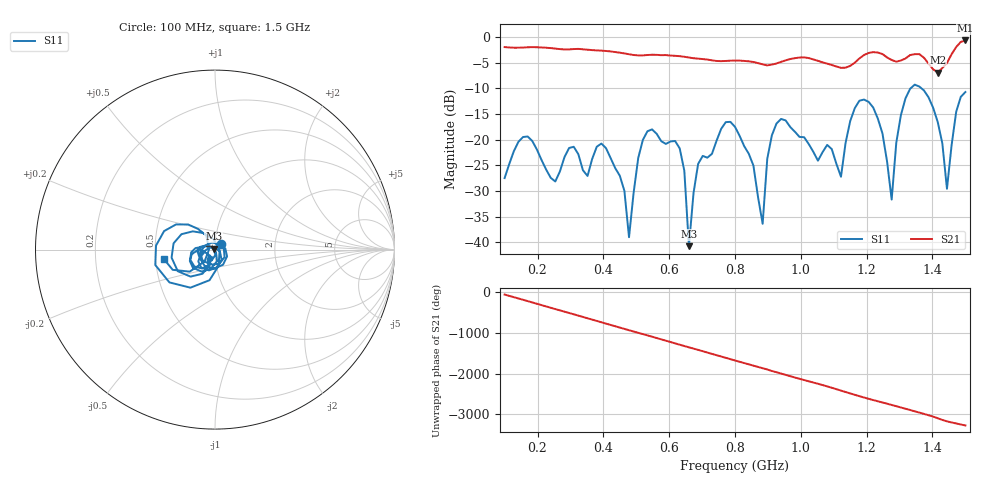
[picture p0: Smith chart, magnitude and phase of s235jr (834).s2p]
! NanoVNA-App
! Date: 2025-09-25 15:10:39
! Start: 100MHz Stop: 1,5GHz Points: 101
! S-Parameter data: F S11 S21 S12 S22
# Hz S RI R 50
!  Frequency  S11_Real  S11_Imag  S21_Real  S21_Imag  S12_Real  S12_Imag  S22_Real  S22_Imag
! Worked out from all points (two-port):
!   101 points, 100 MHz to 1.5 GHz, reference 50 ohm
!   highest |S21| = -0.68 dB at 1.5 GHz (marker M1); lowest = -6.9 dB at 1.416 GHz (marker M2)
!   |S21| within 3 dB of the highest: start of sweep to 620 MHz; 1.189 GHz to 1.256 GHz (66.97 MHz wide, 5.48 % of centre) (the widest 2 of 4)
!   lowest |S11| = -40.7 dB at 660 MHz (marker M3), VSWR 1.02, Z = 49.3 + j0.547 ohm
!   |S11| at or under -10 dB: start of sweep to 1.334 GHz; 1.367 GHz to end of sweep
!   S12 and S22 are empty: the file has one direction only
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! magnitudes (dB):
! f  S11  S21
! 100 MHz  -27.5  -2.0
! 170 MHz  -19.4  -2.0
! 338 MHz  -26.0  -2.4
! 408 MHz  -21.6  -2.7
! 478 MHz  -39.0  -3.4
! 520 MHz  -20.0  -3.6
! 576 MHz  -20.3  -3.5
! 632 MHz  -21.7  -3.7
! 660 MHz  -40.7  -4.0
! 688 MHz  -24.7  -4.2
! 800 MHz  -17.5  -4.6
! 884 MHz  -36.4  -5.3
! 898 MHz  -23.7  -5.5
! 926 MHz  -16.9  -5.2
! 1.038 GHz  -22.4  -4.4
! 1.122 GHz  -27.2  -6.0
! 1.206 GHz  -12.6  -3.1
! 1.276 GHz  -31.7  -4.5
! 1.332 GHz  -10.1  -3.5
! 1.416 GHz  -16.6  -6.9
! 1.444 GHz  -29.6  -5.1
! 1.5 GHz  -10.7  -0.7
